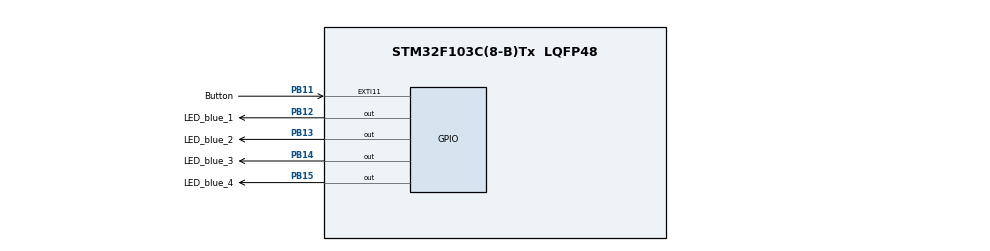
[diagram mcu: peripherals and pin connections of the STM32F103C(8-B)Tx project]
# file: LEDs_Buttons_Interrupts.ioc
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Mcu.Family=STM32F1
Mcu.Name=STM32F103C(8-B)Tx
Mcu.Package=LQFP48
NVIC.EXTI15_10_IRQn=true\:0\:0\:false\:false\:true\:true\:true\:true
NVIC.PriorityGroup=NVIC_PRIORITYGROUP_4
PA13.Mode=Serial_Wire
PA13.Signal=SYS_JTMS-SWDIO
PA14.Mode=Serial_Wire
PA14.Signal=SYS_JTCK-SWCLK
PB11.GPIO_Label=Button
PB11.GPIO_PuPd=GPIO_PULLDOWN
PB11.Signal=GPXTI11
PB12.GPIO_Label=LED_blue_1
PB12.Signal=GPIO_Output
PB13.GPIO_Label=LED_blue_2
PB13.Signal=GPIO_Output
PB14.GPIO_Label=LED_blue_3
PB14.Signal=GPIO_Output
PB15.GPIO_Label=LED_blue_4
PB15.Signal=GPIO_Output
ProjectManager.HeapSize=0x200
ProjectManager.StackSize=0x400
ProjectManager.TargetToolchain=CMake
RCC.APB1Freq_Value=8000000
RCC.APB2Freq_Value=8000000
board=custom

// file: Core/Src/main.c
/* USER CODE BEGIN Header */
/**
  ******************************************************************************
  * @file           : main.c
  * @brief          : Main program body
  ******************************************************************************
  * @attention
  *
  * Copyright (c) 2026 STMicroelectronics.
  * All rights reserved.
  *
  * This software is licensed under terms that can be found in the LICENSE file
  * in the root directory of this software component.
  * If no LICENSE file comes with this software, it is provided AS-IS.
  *
  ******************************************************************************
  */
/* USER CODE END Header */
#include "main.h"

/* USER CODE BEGIN PTD */
typedef enum {
    SEQUENCE,
    DANCING,
    BOTH,
    EDGE_TO_CENTER
} LEDs_modes;
/* USER CODE END PTD */

/* USER CODE BEGIN PV */
static LEDs_modes current = SEQUENCE;
uint16_t LEDs[Defined_LEDs] = {
  LED_blue_1_Pin,
  LED_blue_2_Pin,
  LED_blue_3_Pin,
  LED_blue_4_Pin,
};
/* USER CODE END PV */

void SystemClock_Config(void);
static void MX_GPIO_Init(void);
/* USER CODE BEGIN PFP */
void sequenceLeds();
void dancingLeds();
void bothAtTimeLeds();
void edgeToCenterLeds();
/* USER CODE END PFP */

/* USER CODE BEGIN 0 */
void HAL_GPIO_EXTI_Callback(uint16_t GPIO_Pin) {
    if (GPIO_Pin == GPIO_PIN_11)
      current = (LEDs_modes)((current + 1) % LEDs_States);
}

void sequenceLeds() {
  while (current == SEQUENCE) {
    for (int i = 0; i < Defined_LEDs && current == SEQUENCE; ++i) {
      HAL_GPIO_WritePin(GPIOB, LEDs[i], GPIO_PIN_SET);
      HAL_Delay(200);
      HAL_GPIO_WritePin(GPIOB, LEDs[i], GPIO_PIN_RESET);
    }
  }
}

void dancingLeds() {
  while (current == DANCING) {
    for (int i = 0; i < Defined_LEDs/2 && current == DANCING; ++i) {
      HAL_GPIO_WritePin(GPIOB, LEDs[i], GPIO_PIN_SET);
      HAL_Delay(200);
      HAL_GPIO_WritePin(GPIOB, LEDs[i], GPIO_PIN_RESET);
      HAL_GPIO_WritePin(GPIOB, LEDs[i+2], GPIO_PIN_SET);
      HAL_Delay(200);
      HAL_GPIO_WritePin(GPIOB, LEDs[i+2], GPIO_PIN_RESET);
    }
  }
}

void bothAtTimeLeds() {
  while (current == BOTH) {
    for (int i = 0; i < Defined_LEDs && current == BOTH; i+=2) {
      HAL_GPIO_WritePin(GPIOB, LEDs[i], GPIO_PIN_SET);
      HAL_GPIO_WritePin(GPIOB, LEDs[i+1], GPIO_PIN_SET);
      HAL_Delay(200);
      HAL_GPIO_WritePin(GPIOB, LEDs[i], GPIO_PIN_RESET);
      HAL_GPIO_WritePin(GPIOB, LEDs[i+1], GPIO_PIN_RESET);
    }
  }
}
void edgeToCenterLeds() {
  while (current == EDGE_TO_CENTER) {
    for (int i = 0; i < Defined_LEDs && current == EDGE_TO_CENTER; ++i) {
      HAL_GPIO_WritePin(GPIOB, LEDs[i], GPIO_PIN_SET);
      HAL_GPIO_WritePin(GPIOB, LEDs[Defined_LEDs-1-i], GPIO_PIN_SET);
      HAL_Delay(200);
      HAL_GPIO_WritePin(GPIOB, LEDs[i], GPIO_PIN_RESET);
      HAL_GPIO_WritePin(GPIOB, LEDs[Defined_LEDs-1-i], GPIO_PIN_RESET);
    }
  }
}
/* USER CODE END 0 */

int main(void)
{

  /* MCU Configuration--------------------------------------------------------*/

  /* Reset of all peripherals, Initializes the Flash interface and the Systick. */
  HAL_Init();

  /* Configure the system clock */
  SystemClock_Config();

  /* Initialize all configured peripherals */
  MX_GPIO_Init();
  /* USER CODE BEGIN 2 */
  HAL_NVIC_EnableIRQ(EXTI15_10_IRQn);
  /* USER CODE END 2 */

  /* Infinite loop */
  /* USER CODE BEGIN WHILE */
  while (1)
  {
    switch (current) {
      case SEQUENCE:
        sequenceLeds();
        break;
      case DANCING:
        dancingLeds();
        break;
      case BOTH:
        bothAtTimeLeds();
        break;
      case EDGE_TO_CENTER:
      default:
        edgeToCenterLeds();
        break;
    }
    /* USER CODE END WHILE */

  }
}

void SystemClock_Config(void)
{
  RCC_OscInitTypeDef RCC_OscInitStruct = {0};
  RCC_ClkInitTypeDef RCC_ClkInitStruct = {0};

  /** Initializes the RCC Oscillators according to the specified parameters
  * in the RCC_OscInitTypeDef structure.
  */
  RCC_OscInitStruct.OscillatorType = RCC_OSCILLATORTYPE_HSI;
  RCC_OscInitStruct.HSIState = RCC_HSI_ON;
  RCC_OscInitStruct.HSICalibrationValue = RCC_HSICALIBRATION_DEFAULT;
  RCC_OscInitStruct.PLL.PLLState = RCC_PLL_NONE;
  if (HAL_RCC_OscConfig(&RCC_OscInitStruct) != HAL_OK)
  {
    Error_Handler();
  }

  /** Initializes the CPU, AHB and APB buses clocks
  */
  RCC_ClkInitStruct.ClockType = RCC_CLOCKTYPE_HCLK|RCC_CLOCKTYPE_SYSCLK
                              |RCC_CLOCKTYPE_PCLK1|RCC_CLOCKTYPE_PCLK2;
  RCC_ClkInitStruct.SYSCLKSource = RCC_SYSCLKSOURCE_HSI;
  RCC_ClkInitStruct.AHBCLKDivider = RCC_SYSCLK_DIV1;
  RCC_ClkInitStruct.APB1CLKDivider = RCC_HCLK_DIV1;
  RCC_ClkInitStruct.APB2CLKDivider = RCC_HCLK_DIV1;

  if (HAL_RCC_ClockConfig(&RCC_ClkInitStruct, FLASH_LATENCY_0) != HAL_OK)
  {
    Error_Handler();
  }
}

static void MX_GPIO_Init(void)
{
  GPIO_InitTypeDef GPIO_InitStruct = {0};

  /* GPIO Ports Clock Enable */
  __HAL_RCC_GPIOB_CLK_ENABLE();
  __HAL_RCC_GPIOA_CLK_ENABLE();

  /*Configure GPIO pin Output Level */
  HAL_GPIO_WritePin(GPIOB, LED_blue_1_Pin|LED_blue_2_Pin|LED_blue_3_Pin|LED_blue_4_Pin, GPIO_PIN_RESET);

  /*Configure GPIO pin : Button_Pin */
  GPIO_InitStruct.Pin = Button_Pin;
  GPIO_InitStruct.Mode = GPIO_MODE_IT_RISING;
  GPIO_InitStruct.Pull = GPIO_NOPULL;
  HAL_GPIO_Init(Button_GPIO_Port, &GPIO_InitStruct);

  /*Configure GPIO pins : LED_blue_1_Pin LED_blue_2_Pin LED_blue_3_Pin LED_blue_4_Pin */
  GPIO_InitStruct.Pin = LED_blue_1_Pin|LED_blue_2_Pin|LED_blue_3_Pin|LED_blue_4_Pin;
  GPIO_InitStruct.Mode = GPIO_MODE_OUTPUT_PP;
  GPIO_InitStruct.Pull = GPIO_NOPULL;
  GPIO_InitStruct.Speed = GPIO_SPEED_FREQ_LOW;
  HAL_GPIO_Init(GPIOB, &GPIO_InitStruct);

  /* EXTI interrupt init*/
  HAL_NVIC_SetPriority(EXTI15_10_IRQn, 0, 0);
  HAL_NVIC_EnableIRQ(EXTI15_10_IRQn);

}

void Error_Handler(void)
{
  __disable_irq();
  while (1)
  {
  }
}
